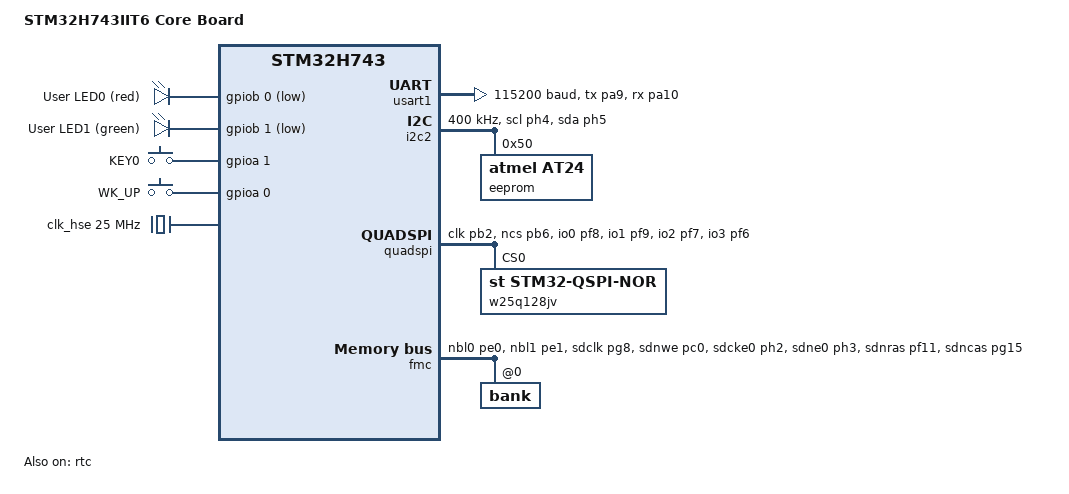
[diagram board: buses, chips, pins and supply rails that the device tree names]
/*
 * Copyright (c) 2026 Davi Alexandre Volcan <davi.volcan2@gmail.com>
 *
 * SPDX-License-Identifier: Apache-2.0
 */

/dts-v1/;
#include <st/h7/stm32h743Xi.dtsi>
#include <st/h7/stm32h743iitx-pinctrl.dtsi>
#include <zephyr/dt-bindings/input/input-event-codes.h>

/ {
	compatible = "stm32h743_coreboard";
	model = "STM32H743IIT6 Core Board";

	chosen {
		zephyr,console = &usart1;
		zephyr,shell-uart = &usart1;
		zephyr,sram = &sram0;
		zephyr,flash = &flash0;
	};

	leds {
		compatible = "gpio-leds";

		red_led: led_0 {
			gpios = <&gpiob 0 GPIO_ACTIVE_LOW>;
			label = "User LED0 (red)";
		};

		green_led: led_1 {
			gpios = <&gpiob 1 GPIO_ACTIVE_LOW>;
			label = "User LED1 (green)";
		};
	};

	gpio_keys {
		compatible = "gpio-keys";

		key0_button: key0 {
			label = "KEY0";
			gpios = <&gpioa 1 (GPIO_PULL_DOWN | GPIO_ACTIVE_HIGH)>;
			zephyr,code = <INPUT_KEY_0>;
		};

		wkup_button: wk_up {
			label = "WK_UP";
			gpios = <&gpioa 0 (GPIO_PULL_DOWN | GPIO_ACTIVE_HIGH)>;
			zephyr,code = <INPUT_KEY_WAKEUP>;
		};
	};

	aliases {
		led0 = &red_led;
		led1 = &green_led;
		sw0 = &key0_button;
		sw1 = &wkup_button;
		eeprom-0 = &eeprom;
		rtc = &rtc;
	};

	sdram1: sdram@c0000000 {
		compatible = "zephyr,memory-region", "mmio-sram";
		reg = <0xc0000000 DT_SIZE_M(32)>;
		device_type = "memory";
		zephyr,memory-region = "SDRAM1";
		zephyr,memory-attr = <DT_MEM_ARM(ATTR_MPU_RAM)>;
	};
};

&clk_hse {
	clock-frequency = <DT_FREQ_M(25)>;
	status = "okay";
};

&clk_lse {
	status = "okay";
};

&pll {
	div-m = <5>;
	mul-n = <192>;
	div-p = <2>;
	div-q = <4>;
	div-r = <4>;
	clocks = <&clk_hse>;
	status = "okay";
};

&rcc {
	clocks = <&pll>;
	clock-frequency = <DT_FREQ_M(480)>;
	d1cpre = <1>;
	hpre = <2>;
	d1ppre = <2>;
	d2ppre1 = <2>;
	d2ppre2 = <2>;
	d3ppre = <2>;
};

&pwr {
	power-supply = "ldo";
};

&rtc {
	clocks = <&rcc STM32_CLOCK(APB4, 16)>,
		 <&rcc STM32_SRC_LSE RTC_SEL(1)>;
	status = "okay";
};

&usart1 {
	pinctrl-0 = <&usart1_tx_pa9 &usart1_rx_pa10>;
	pinctrl-names = "default";
	current-speed = <115200>;
	status = "okay";
};

&i2c2 {
	pinctrl-0 = <&i2c2_scl_ph4 &i2c2_sda_ph5>;
	pinctrl-names = "default";
	clock-frequency = <I2C_BITRATE_FAST>;
	status = "okay";

	eeprom: eeprom@50 {
		compatible = "atmel,at24";
		reg = <0x50>;
		size = <256>;
		pagesize = <8>;
		address-width = <8>;
		timeout = <5>;
	};
};

&quadspi {
	pinctrl-0 = <&quadspi_clk_pb2 &quadspi_bk1_ncs_pb6
		     &quadspi_bk1_io0_pf8 &quadspi_bk1_io1_pf9
		     &quadspi_bk1_io2_pf7 &quadspi_bk1_io3_pf6>;
	pinctrl-names = "default";
	status = "okay";

	w25q128jv: qspi-nor-flash@0 {
		compatible = "st,stm32-qspi-nor";
		reg = <0>;
		size = <DT_SIZE_M(128)>; /* 128 Mbit */
		qspi-max-frequency = <DT_FREQ_M(133)>;
		cs-high-time = <7>;
		status = "okay";
	};
};

&fmc {
	pinctrl-0 = <&fmc_nbl0_pe0 &fmc_nbl1_pe1
		     &fmc_sdclk_pg8 &fmc_sdnwe_pc0 &fmc_sdcke0_ph2
		     &fmc_sdne0_ph3 &fmc_sdnras_pf11 &fmc_sdncas_pg15
		     &fmc_a0_pf0 &fmc_a1_pf1 &fmc_a2_pf2 &fmc_a3_pf3 &fmc_a4_pf4
		     &fmc_a5_pf5 &fmc_a6_pf12 &fmc_a7_pf13 &fmc_a8_pf14
		     &fmc_a9_pf15 &fmc_a10_pg0 &fmc_a11_pg1 &fmc_a12_pg2
		     &fmc_a14_pg4 &fmc_a15_pg5
		     &fmc_d0_pd14 &fmc_d1_pd15 &fmc_d2_pd0 &fmc_d3_pd1
		     &fmc_d4_pe7 &fmc_d5_pe8 &fmc_d6_pe9 &fmc_d7_pe10
		     &fmc_d8_pe11 &fmc_d9_pe12 &fmc_d10_pe13 &fmc_d11_pe14
		     &fmc_d12_pe15 &fmc_d13_pd8 &fmc_d14_pd9 &fmc_d15_pd10>;
	pinctrl-names = "default";
	status = "okay";

	/* Winbond W9825G6KH-6I, SDCLK = HCLK / 2 = 120 MHz */
	sdram {
		power-up-delay = <200>;
		num-auto-refresh = <8>;
		mode-register = <0x220>;
		/* 64 ms / 8192 rows * 120 MHz - 20 */
		refresh-rate = <917>;
		status = "okay";

		bank@0 {
			reg = <0>;
			st,sdram-control = <STM32_FMC_SDRAM_NC_9
					    STM32_FMC_SDRAM_NR_13
					    STM32_FMC_SDRAM_MWID_16
					    STM32_FMC_SDRAM_NB_4
					    STM32_FMC_SDRAM_CAS_2
					    STM32_FMC_SDRAM_SDCLK_PERIOD_2
					    STM32_FMC_SDRAM_RBURST_ENABLE
					    STM32_FMC_SDRAM_RPIPE_0>;
			st,sdram-timing = <2 10 6 8 3 3 3>;
		};
	};
};
